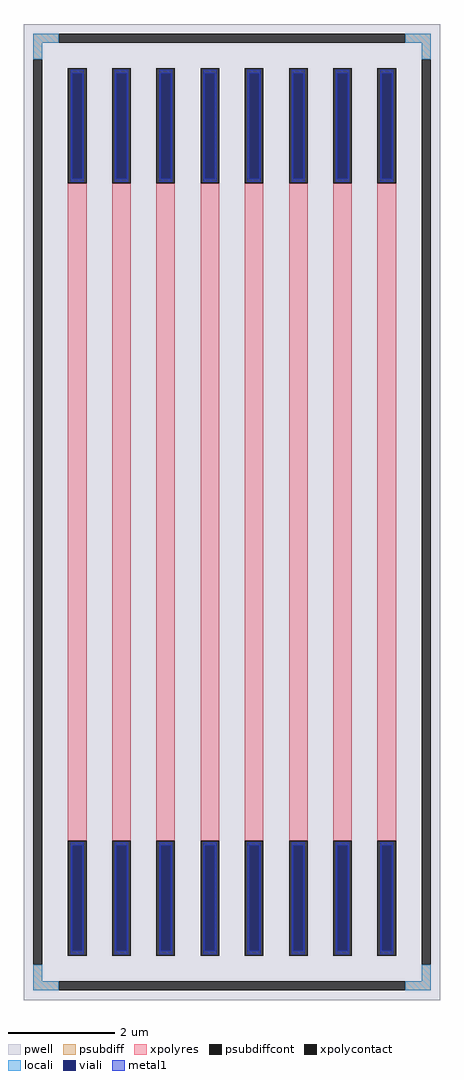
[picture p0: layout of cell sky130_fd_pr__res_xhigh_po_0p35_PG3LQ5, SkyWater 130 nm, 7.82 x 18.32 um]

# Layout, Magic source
magic
tech sky130A
magscale 1 2
<< pwell >>
rect -782 -1832 782 1832
<< psubdiff >>
rect -746 1762 -650 1796
rect 650 1762 746 1796
rect -746 1700 -712 1762
rect 712 1700 746 1762
rect -746 -1762 -712 -1700
rect 712 -1762 746 -1700
rect -746 -1796 -650 -1762
rect 650 -1796 746 -1762
<< psubdiffcont >>
rect -650 1762 650 1796
rect -746 -1700 -712 1700
rect 712 -1700 746 1700
rect -650 -1796 650 -1762
<< xpolycontact >>
rect -616 1234 -546 1666
rect -616 -1666 -546 -1234
rect -450 1234 -380 1666
rect -450 -1666 -380 -1234
rect -284 1234 -214 1666
rect -284 -1666 -214 -1234
rect -118 1234 -48 1666
rect -118 -1666 -48 -1234
rect 48 1234 118 1666
rect 48 -1666 118 -1234
rect 214 1234 284 1666
rect 214 -1666 284 -1234
rect 380 1234 450 1666
rect 380 -1666 450 -1234
rect 546 1234 616 1666
rect 546 -1666 616 -1234
<< xpolyres >>
rect -616 -1234 -546 1234
rect -450 -1234 -380 1234
rect -284 -1234 -214 1234
rect -118 -1234 -48 1234
rect 48 -1234 118 1234
rect 214 -1234 284 1234
rect 380 -1234 450 1234
rect 546 -1234 616 1234
<< locali >>
rect -746 1762 -650 1796
rect 650 1762 746 1796
rect -746 1700 -712 1762
rect 712 1700 746 1762
rect -746 -1762 -712 -1700
rect 712 -1762 746 -1700
rect -746 -1796 -650 -1762
rect 650 -1796 746 -1762
<< viali >>
rect -600 1251 -562 1648
rect -434 1251 -396 1648
rect -268 1251 -230 1648
rect -102 1251 -64 1648
rect 64 1251 102 1648
rect 230 1251 268 1648
rect 396 1251 434 1648
rect 562 1251 600 1648
rect -600 -1648 -562 -1251
rect -434 -1648 -396 -1251
rect -268 -1648 -230 -1251
rect -102 -1648 -64 -1251
rect 64 -1648 102 -1251
rect 230 -1648 268 -1251
rect 396 -1648 434 -1251
rect 562 -1648 600 -1251
<< metal1 >>
rect -606 1648 -556 1660
rect -606 1251 -600 1648
rect -562 1251 -556 1648
rect -606 1239 -556 1251
rect -440 1648 -390 1660
rect -440 1251 -434 1648
rect -396 1251 -390 1648
rect -440 1239 -390 1251
rect -274 1648 -224 1660
rect -274 1251 -268 1648
rect -230 1251 -224 1648
rect -274 1239 -224 1251
rect -108 1648 -58 1660
rect -108 1251 -102 1648
rect -64 1251 -58 1648
rect -108 1239 -58 1251
rect 58 1648 108 1660
rect 58 1251 64 1648
rect 102 1251 108 1648
rect 58 1239 108 1251
rect 224 1648 274 1660
rect 224 1251 230 1648
rect 268 1251 274 1648
rect 224 1239 274 1251
rect 390 1648 440 1660
rect 390 1251 396 1648
rect 434 1251 440 1648
rect 390 1239 440 1251
rect 556 1648 606 1660
rect 556 1251 562 1648
rect 600 1251 606 1648
rect 556 1239 606 1251
rect -606 -1251 -556 -1239
rect -606 -1648 -600 -1251
rect -562 -1648 -556 -1251
rect -606 -1660 -556 -1648
rect -440 -1251 -390 -1239
rect -440 -1648 -434 -1251
rect -396 -1648 -390 -1251
rect -440 -1660 -390 -1648
rect -274 -1251 -224 -1239
rect -274 -1648 -268 -1251
rect -230 -1648 -224 -1251
rect -274 -1660 -224 -1648
rect -108 -1251 -58 -1239
rect -108 -1648 -102 -1251
rect -64 -1648 -58 -1251
rect -108 -1660 -58 -1648
rect 58 -1251 108 -1239
rect 58 -1648 64 -1251
rect 102 -1648 108 -1251
rect 58 -1660 108 -1648
rect 224 -1251 274 -1239
rect 224 -1648 230 -1251
rect 268 -1648 274 -1251
rect 224 -1660 274 -1648
rect 390 -1251 440 -1239
rect 390 -1648 396 -1251
rect 434 -1648 440 -1251
rect 390 -1660 440 -1648
rect 556 -1251 606 -1239
rect 556 -1648 562 -1251
rect 600 -1648 606 -1251
rect 556 -1660 606 -1648
<< properties >>
string FIXED_BBOX -729 -1779 729 1779
string gencell sky130_fd_pr__res_xhigh_po_0p35
string library sky130
string parameters w 0.350 l 12.5 m 1 nx 8 wmin 0.350 lmin 0.50 rho 2000 val 72.504k dummy 0 dw 0.0 term 188.2 sterm 0.0 caplen 0 wmax 0.350 guard 1 glc 1 grc 1 gtc 1 gbc 1 compatible {sky130_fd_pr__res_xhigh_po_0p35  sky130_fd_pr__res_xhigh_po_0p69 sky130_fd_pr__res_xhigh_po_1p41  sky130_fd_pr__res_xhigh_po_2p85 sky130_fd_pr__res_xhigh_po_5p73} snake 0 full_metal 1 n_guard 0 hv_guard 0 vias 1 viagb 0 viagt 0 viagl 0 viagr 0
<< end >>
